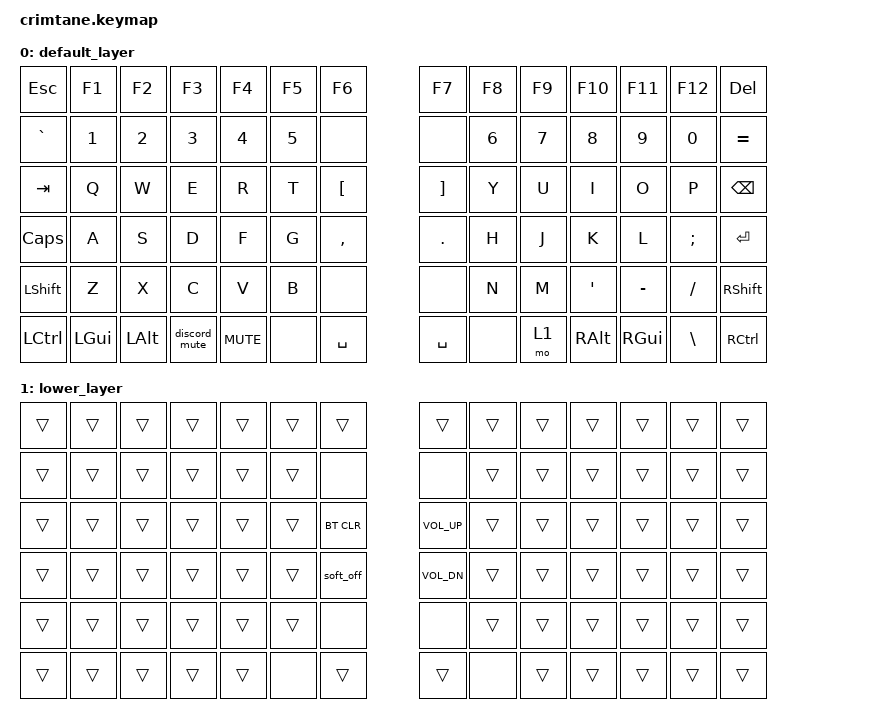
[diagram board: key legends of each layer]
#include <behaviors.dtsi>
#include <dt-bindings/zmk/keys.h>
#include <dt-bindings/zmk/bt.h>

/ {
    behaviors {
        soft_off: soft_off {
            compatible = "zmk,behavior-soft-off";
            #binding-cells = <0>;
        };
    };
};

// ============================================================================================================
//                                         CRIMTANE KEYMAP REFERENCE GRID
// ============================================================================================================
//  pro_micro (col, row)
// | 5,16 |  6,16 |  7,16 |  8,16 |  9,16 |  4,16 |  3,16 |   |  9,16 |  8,16 |  7,16 |  6,16 |  5,16 |  4,16 |  3,16 |
// | 5,14 |  6,14 |  7,14 |  8,14 |  9,14 |  4,14 |       |   |  8,14 |  7,14 |  6,14 |  5,14 |  4,14 |  3,14 |
// | 5,15 |  6,15 |  7,15 |  8,15 |  9,15 |  4,15 |  3,15 |   |  9,15 |  8,15 |  7,15 |  6,15 |  5,15 |  4,15 |  3,15 |
// | 5,18 |  6,18 |  7,18 |  8,18 |  9,18 |  4,18 |  3,18 |   |  9,18 |  8,18 |  7,18 |  6,18 |  5,18 |  4,18 |  3,18 |
// | 5,19 |  6,19 |  7,19 |  8,19 |  9,19 |  4,19 |       |   |  8,19 |  7,19 |  6,19 |  5,19 |  4,19 |  3,19 |
// | 5,20 |  6,20 |  7,20 |  8,20 |  9,20 |       |  3,20 |   |  9,20 |       |  7,20 |  6,20 |  5,20 |  4,20 |  3,20 |

//  Physical Layout Key Target Preview
// | ESC |  F1 |  F2 |  F3 |  F4 |  F5 |  F6 |     |  F7 |  F8 |  F9 | F10 | F11 | F12 | DEL |
// | TILD|  1  |  2  |  3  |  4  |  5  |    	         |  6  |  7  |  8  |  9  |  0  | BSPC|
// | TAB |  Q  |  W  |  E  |  R  |  T  |  -  |     |  ]  |  Y  |  U  |  I  |  O  |  P  | EQUL|
// | CAPS|  A  |  S  |  D  |  F  |  G  |  '  |	   |  [  |  H  |  J  |  K  |  L  |  ;  | ENTR|
// | SHFT|  Z  |  X  |  C  |  V  |  B  |                 |  N  |  M  |  ,  |  .  |  /  | SHFT|
// | CTRL| WIND| ALT | DISC| MUTE|     |SPACE|     |SPACE|     |  MO | ALT | WIND|  \  | CTRL|

/ {

   macros {
        // Defines a macro that presses LCTRL + LSHIFT + LALT + M all at once
        discord_mute: discord_mute {
            compatible = "zmk,behavior-macro";
            #binding-cells = <0>;
            bindings
                = <&macro_press &kp LCTRL &kp LSHIFT &kp LALT>
                , <&macro_tap &kp M>
                , <&macro_release &kp LCTRL &kp LSHIFT &kp LALT>
                ;
        };
    };

    keymap {
        compatible = "zmk,keymap";

        default_layer {
            bindings = <
                &kp ESC   &kp F1   &kp F2   &kp F3 &kp F4   &kp F5   &kp F6            &kp F7    &kp F8  &kp F9  &kp F10   &kp F11   &kp F12   &kp DEL
                &kp GRAVE &kp N1   &kp N2   &kp N3 &kp N4   &kp N5   &none             &none     &kp N6  &kp N7  &kp N8    &kp N9    &kp N0    &kp EQUAL
                &kp TAB   &kp Q    &kp W    &kp E  &kp R    &kp T    &kp LBKT          &kp RBKT  &kp Y   &kp U   &kp I     &kp O     &kp P     &kp BSPC
                &kp CAPS  &kp A    &kp S    &kp D  &kp F    &kp G    &kp COMMA         &kp DOT   &kp H   &kp J   &kp K     &kp L     &kp SEMI  &kp RET
                &kp LSHFT &kp Z    &kp X    &kp C  &kp V    &kp B    &none             &none     &kp N   &kp M   &kp SQT   &kp MINUS &kp FSLH  &kp RSHFT
                &kp LCTRL &kp LGUI &kp LALT &discord_mute  &kp C_MUTE &none &kp SPACE  &kp SPACE &none   &mo 1   &kp RALT  &kp RGUI  &kp BSLH  &kp RCTRL
            >;
        };

        lower_layer {
            bindings = <
                &trans &trans &trans &trans &trans &trans &trans        &trans &trans &trans &trans &trans &trans &trans
                &trans &trans &trans &trans &trans &trans &none         &none  &trans &trans &trans &trans &trans &trans
                &trans &trans &trans &trans &trans &trans &bt BT_CLR    &kp C_VOL_UP &trans &trans &trans &trans &trans &trans
                &trans &trans &trans &trans &trans &trans &soft_off     &kp C_VOL_DN &trans &trans &trans &trans &trans &trans
                &trans &trans &trans &trans &trans &trans &none         &none  &trans &trans &trans &trans &trans &trans
                &trans &trans &trans &trans &trans &none  &trans        &trans &none  &trans &trans &trans &trans &trans
            >;
        };
    };
};
